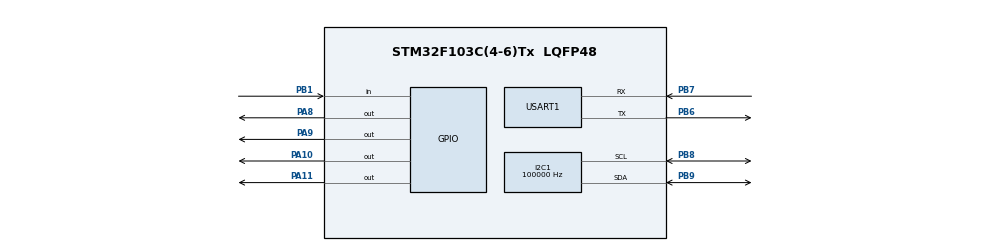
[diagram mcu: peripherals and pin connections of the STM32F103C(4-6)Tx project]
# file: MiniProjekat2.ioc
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I2C1.ClockSpeed=100000
Mcu.Family=STM32F1
Mcu.Name=STM32F103C(4-6)Tx
Mcu.Package=LQFP48
NVIC.PriorityGroup=NVIC_PRIORITYGROUP_4
NVIC.USART1_IRQn=true\:0\:0\:false\:false\:true\:true\:true\:true
PA10.Signal=GPIO_Output
PA11.Signal=GPIO_Output
PA8.Signal=GPIO_Output
PA9.Signal=GPIO_Output
PB1.Signal=GPIO_Input
PB6.Mode=Asynchronous
PB6.Signal=USART1_TX
PB7.Mode=Asynchronous
PB7.Signal=USART1_RX
PB8.Mode=I2C
PB8.Signal=I2C1_SCL
PB9.Mode=I2C
PB9.Signal=I2C1_SDA
PC14-OSC32_IN.Mode=LSE-External-Oscillator
PC14-OSC32_IN.Signal=RCC_OSC32_IN
PC15-OSC32_OUT.Mode=LSE-External-Oscillator
PC15-OSC32_OUT.Signal=RCC_OSC32_OUT
ProjectManager.HeapSize=0x200
ProjectManager.StackSize=0x400
ProjectManager.TargetToolchain=STM32CubeIDE
RCC.APB1Freq_Value=8000000
RCC.APB2Freq_Value=8000000
TIM1.Period=0xffff-1
TIM1.Prescaler=8-1
USART1.VirtualMode=VM_ASYNC
VP_TIM1_VS_ClockSourceINT.Mode=Internal
board=custom

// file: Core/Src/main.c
/* USER CODE BEGIN Header */
/**
  ******************************************************************************
  * @file           : main.c
  * @brief          : Main program body
  ******************************************************************************
  * @attention
  *
  * Copyright (c) 2023 STMicroelectronics.
  * All rights reserved.
  *
  * This software is licensed under terms that can be found in the LICENSE file
  * in the root directory of this software component.
  * If no LICENSE file comes with this software, it is provided AS-IS.
  *
  ******************************************************************************
  */
/* USER CODE END Header */
#include "main.h"
#include "string.h"

I2C_HandleTypeDef hi2c1;

TIM_HandleTypeDef htim1;

UART_HandleTypeDef huart1;

/* USER CODE BEGIN PV */
static const uint8_t TMP102_ADDR = 0x48 << 1; // Adresa TMP102 siftovana za jedan bit jer je adresa sedmobitna po defaultu za vecinu I2C periferija
static const uint8_t REG_TEMP = 0x00;

uint8_t RX1_Char = 0x00;

const int nizSupstance[] = {1, 3, 2, 2, 1, 1, 1, 0, 1, 0, 1, 3, 2, 0, 3};
int isThere[] = {1, 1, 1, 1, 1, 1, 1, 1, 1, 1, 1, 1, 1, 1, 1};
const int razdaljine[] = {0, 1, 2, 3, 4, 5, 6, 7, 7, 6, 5, 4, 3, 2, 1};
/* USER CODE END PV */

void SystemClock_Config(void);
static void MX_GPIO_Init(void);
static void MX_TIM1_Init(void);
static void MX_I2C1_Init(void);
static void MX_USART1_UART_Init(void);

/* USER CODE BEGIN 0 */
void delay_us (uint16_t us)
{
	__HAL_TIM_SET_COUNTER(&htim1,0);  // CNT se setuje na 0
	while (__HAL_TIM_GET_COUNTER(&htim1) < us);  // Ceka se da CNT dostigne zadatu vrednost
}

void zagrevanje(float temperatura){
	HAL_StatusTypeDef ret;
	uint8_t buf[12];
	int16_t val;
	double temp_c;

	HAL_GPIO_WritePin(GPIOA, GPIO_PIN_10, GPIO_PIN_SET);
	HAL_GPIO_WritePin(GPIOA, GPIO_PIN_9, GPIO_PIN_SET);

	do {
		HAL_GPIO_TogglePin(GPIOA, GPIO_PIN_11);
		delay_us(10);

		buf[0] = REG_TEMP;
		ret = HAL_I2C_Master_Transmit(&hi2c1, TMP102_ADDR, buf, 1, HAL_MAX_DELAY);
		if ( ret != HAL_OK ) {
			strcpy((char*)buf, "Error Tx\r\n");
		} else {

			// Citanje 2 bita iz registra temperaturnog senzora
			ret = HAL_I2C_Master_Receive(&hi2c1, TMP102_ADDR, buf, 2, HAL_MAX_DELAY);
			if ( ret != HAL_OK ) {
				strcpy((char*)buf, "Error Rx\r\n");
			} else {

				// Kombinujemo bitove kako bismo dobili 12-bitnu vrednost
				val = ((int16_t)buf[0] << 4) | (buf[1] >> 4);

				// Konvertujemo u drugi komplement, temperatura moze da bude i negativna
				if ( val > 0x7FF ) {
					val |= 0xF000;
				}

				// Konvertujemo u decimalni format
				temp_c = val * 0.0625;
			}
		}
	} while(temp_c < (temperatura - 1) || temp_c > (temperatura + 1));
}

void vracanjeNultiPolozaj(){
	int nulti;
	HAL_GPIO_WritePin(GPIOA, GPIO_PIN_10, GPIO_PIN_SET);
	HAL_GPIO_WritePin(GPIOA, GPIO_PIN_9, GPIO_PIN_SET);

	do{
		nulti = HAL_GPIO_ReadPin(GPIOB, GPIO_PIN_1);
		for(int i = 0; i < 53; i++){
			HAL_GPIO_TogglePin(GPIOA, GPIO_PIN_11);
			HAL_Delay(500);
		}
	}while(nulti != 0);

	HAL_GPIO_WritePin(GPIOA, GPIO_PIN_9, GPIO_PIN_RESET);
}

void rotiraj(int brojKoraka, int smer){
	if(smer == 1){
		HAL_GPIO_WritePin(GPIOA, GPIO_PIN_10, GPIO_PIN_RESET);
	} else {
		HAL_GPIO_WritePin(GPIOA, GPIO_PIN_10, GPIO_PIN_SET);
	}

	HAL_GPIO_WritePin(GPIOA, GPIO_PIN_9, GPIO_PIN_SET);

	for(int i = 0; i < 53 * brojKoraka; i++){
		HAL_GPIO_TogglePin(GPIOA, GPIO_PIN_11);
		HAL_Delay(500);
	}

	HAL_GPIO_WritePin(GPIOA, GPIO_PIN_9, GPIO_PIN_RESET);
}

void izbaci(){
	HAL_GPIO_WritePin(GPIOA, GPIO_PIN_10, GPIO_PIN_RESET);
	HAL_GPIO_WritePin(GPIOA, GPIO_PIN_8, GPIO_PIN_SET);

	for(int i = 0; i < 200; i++){
		HAL_GPIO_TogglePin(GPIOA, GPIO_PIN_11);
		HAL_Delay(250);
	}

	HAL_GPIO_WritePin(GPIOA, GPIO_PIN_8, GPIO_PIN_RESET);
}
/* USER CODE END 0 */

int main(void)
{

  /* MCU Configuration--------------------------------------------------------*/

  /* Reset of all peripherals, Initializes the Flash interface and the Systick. */
  HAL_Init();

  /* Configure the system clock */
  SystemClock_Config();

  /* Initialize all configured peripherals */
  MX_GPIO_Init();
  MX_TIM1_Init();
  MX_I2C1_Init();
  MX_USART1_UART_Init();
  /* USER CODE BEGIN 2 */
  HAL_TIM_Base_Start(&htim1);
  HAL_UART_Receive_IT(&huart1, &RX1_Char, 1);
  /* USER CODE END 2 */

  /* Infinite loop */
  while (1)
  {

	double temperatura = 75.00;
	zagrevanje(temperatura);
	vracanjeNultiPolozaj();

	int zeljenaSupstanca = 5;
	int smer = 0;

	// Citanje zeljene supstance

	if (RX1_Char >= '0' && RX1_Char <= '4') {
	    zeljenaSupstanca = RX1_Char - '0';
	    HAL_UART_Receive_IT(&huart1, &RX1_Char, 1);
	    RX1_Char = 0x00;
	}

	for(int i = 0; i < 15; i++){
		if(nizSupstance[i] == zeljenaSupstanca && isThere[i]){
			if(i > 7){
				smer = 1;
			}

			rotiraj(razdaljine[i], smer);
			izbaci();
			isThere[i] = 0;
			break;
		}
	}
  }
}

void SystemClock_Config(void)
{
  RCC_OscInitTypeDef RCC_OscInitStruct = {0};
  RCC_ClkInitTypeDef RCC_ClkInitStruct = {0};

  /** Initializes the RCC Oscillators according to the specified parameters
  * in the RCC_OscInitTypeDef structure.
  */
  RCC_OscInitStruct.OscillatorType = RCC_OSCILLATORTYPE_HSI;
  RCC_OscInitStruct.HSIState = RCC_HSI_ON;
  RCC_OscInitStruct.HSICalibrationValue = RCC_HSICALIBRATION_DEFAULT;
  RCC_OscInitStruct.PLL.PLLState = RCC_PLL_NONE;
  if (HAL_RCC_OscConfig(&RCC_OscInitStruct) != HAL_OK)
  {
    Error_Handler();
  }

  /** Initializes the CPU, AHB and APB buses clocks
  */
  RCC_ClkInitStruct.ClockType = RCC_CLOCKTYPE_HCLK|RCC_CLOCKTYPE_SYSCLK
                              |RCC_CLOCKTYPE_PCLK1|RCC_CLOCKTYPE_PCLK2;
  RCC_ClkInitStruct.SYSCLKSource = RCC_SYSCLKSOURCE_HSI;
  RCC_ClkInitStruct.AHBCLKDivider = RCC_SYSCLK_DIV1;
  RCC_ClkInitStruct.APB1CLKDivider = RCC_HCLK_DIV1;
  RCC_ClkInitStruct.APB2CLKDivider = RCC_HCLK_DIV1;

  if (HAL_RCC_ClockConfig(&RCC_ClkInitStruct, FLASH_LATENCY_0) != HAL_OK)
  {
    Error_Handler();
  }
}

static void MX_I2C1_Init(void)
{

  hi2c1.Instance = I2C1;
  hi2c1.Init.ClockSpeed = 100000;
  hi2c1.Init.DutyCycle = I2C_DUTYCYCLE_2;
  hi2c1.Init.OwnAddress1 = 0;
  hi2c1.Init.AddressingMode = I2C_ADDRESSINGMODE_7BIT;
  hi2c1.Init.DualAddressMode = I2C_DUALADDRESS_DISABLE;
  hi2c1.Init.OwnAddress2 = 0;
  hi2c1.Init.GeneralCallMode = I2C_GENERALCALL_DISABLE;
  hi2c1.Init.NoStretchMode = I2C_NOSTRETCH_DISABLE;
  if (HAL_I2C_Init(&hi2c1) != HAL_OK)
  {
    Error_Handler();
  }

}

static void MX_TIM1_Init(void)
{

  TIM_ClockConfigTypeDef sClockSourceConfig = {0};
  TIM_MasterConfigTypeDef sMasterConfig = {0};

  htim1.Instance = TIM1;
  htim1.Init.Prescaler = 8-1;
  htim1.Init.CounterMode = TIM_COUNTERMODE_UP;
  htim1.Init.Period = 0xffff-1;
  htim1.Init.ClockDivision = TIM_CLOCKDIVISION_DIV1;
  htim1.Init.RepetitionCounter = 0;
  htim1.Init.AutoReloadPreload = TIM_AUTORELOAD_PRELOAD_DISABLE;
  if (HAL_TIM_Base_Init(&htim1) != HAL_OK)
  {
    Error_Handler();
  }
  sClockSourceConfig.ClockSource = TIM_CLOCKSOURCE_INTERNAL;
  if (HAL_TIM_ConfigClockSource(&htim1, &sClockSourceConfig) != HAL_OK)
  {
    Error_Handler();
  }
  sMasterConfig.MasterOutputTrigger = TIM_TRGO_RESET;
  sMasterConfig.MasterSlaveMode = TIM_MASTERSLAVEMODE_DISABLE;
  if (HAL_TIMEx_MasterConfigSynchronization(&htim1, &sMasterConfig) != HAL_OK)
  {
    Error_Handler();
  }

}

static void MX_USART1_UART_Init(void)
{

  huart1.Instance = USART1;
  huart1.Init.BaudRate = 115200;
  huart1.Init.WordLength = UART_WORDLENGTH_8B;
  huart1.Init.StopBits = UART_STOPBITS_1;
  huart1.Init.Parity = UART_PARITY_NONE;
  huart1.Init.Mode = UART_MODE_TX_RX;
  huart1.Init.HwFlowCtl = UART_HWCONTROL_NONE;
  huart1.Init.OverSampling = UART_OVERSAMPLING_16;
  if (HAL_UART_Init(&huart1) != HAL_OK)
  {
    Error_Handler();
  }

}

static void MX_GPIO_Init(void)
{
  GPIO_InitTypeDef GPIO_InitStruct = {0};

  /* GPIO Ports Clock Enable */
  __HAL_RCC_GPIOC_CLK_ENABLE();
  __HAL_RCC_GPIOB_CLK_ENABLE();
  __HAL_RCC_GPIOA_CLK_ENABLE();

  /*Configure GPIO pin Output Level */
  HAL_GPIO_WritePin(GPIOA, GPIO_PIN_8|GPIO_PIN_9|GPIO_PIN_10|GPIO_PIN_11, GPIO_PIN_RESET);

  /*Configure GPIO pin : PB1 */
  GPIO_InitStruct.Pin = GPIO_PIN_1;
  GPIO_InitStruct.Mode = GPIO_MODE_INPUT;
  GPIO_InitStruct.Pull = GPIO_NOPULL;
  HAL_GPIO_Init(GPIOB, &GPIO_InitStruct);

  /*Configure GPIO pins : PA8 PA9 PA10 PA11 */
  GPIO_InitStruct.Pin = GPIO_PIN_8|GPIO_PIN_9|GPIO_PIN_10|GPIO_PIN_11;
  GPIO_InitStruct.Mode = GPIO_MODE_OUTPUT_PP;
  GPIO_InitStruct.Pull = GPIO_NOPULL;
  GPIO_InitStruct.Speed = GPIO_SPEED_FREQ_LOW;
  HAL_GPIO_Init(GPIOA, &GPIO_InitStruct);

}

void Error_Handler(void)
{
  __disable_irq();
  while (1)
  {
  }
}
